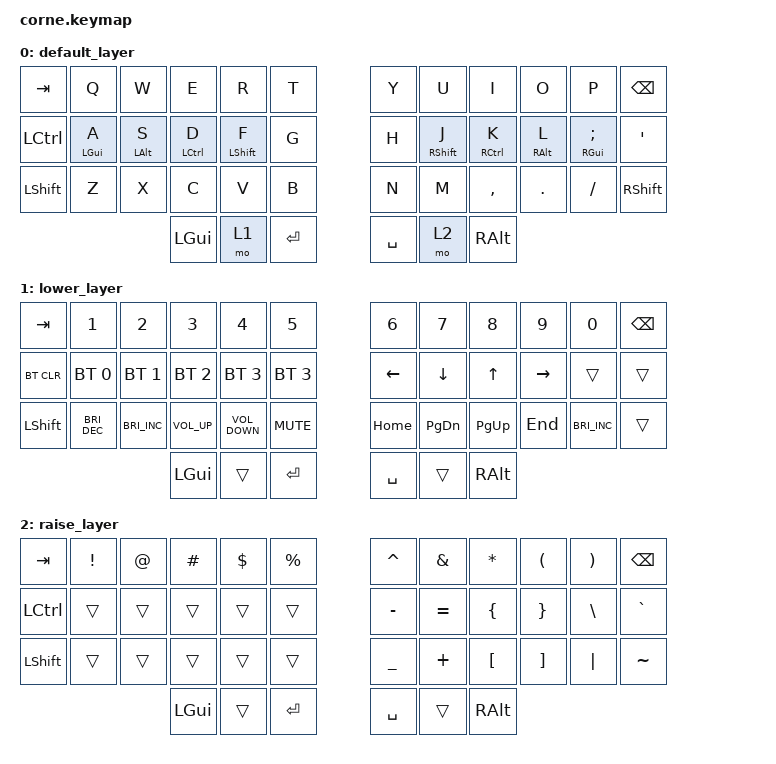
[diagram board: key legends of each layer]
/*
 * Copyright (c) 2020 The ZMK Contributors
 *
 * SPDX-License-Identifier: MIT
 */

#include <behaviors.dtsi>
#include <dt-bindings/zmk/bt.h>
#include <dt-bindings/zmk/keys.h>

/ {
    combos {
        compatible = "zmk,combos";

        combo_jk_esc {
            bindings = <&kp ESC>;
            key-positions = <19 20>;
        };

        combo_df_space {
            bindings = <&kp SPACE>;
            key-positions = <15 16>;
        };
    };

    behaviors {
        hmr: hmr {
            compatible = "zmk,behavior-hold-tap";
            label = "HMR";
            bindings = <&kp>, <&kp>;

            #binding-cells = <2>;
            flavor = "balanced";
            hold-trigger-key-positions = <0 1 2 3 4 5 12 13 14 15 16 17 24 25 26 27 28 29 36 37 38>;
            tapping-term-ms = <280>;
            require-prior-idle-ms = <150>;
            quick-tap-ms = <175>;
            hold-trigger-on-release;
        };

        hml: hml {
            compatible = "zmk,behavior-hold-tap";
            label = "HML";
            bindings = <&kp>, <&kp>;

            #binding-cells = <2>;
            flavor = "balanced";
            tapping-term-ms = <280>;
            require-prior-idle-ms = <150>;
            quick-tap-ms = <175>;
            hold-trigger-on-release;
            hold-trigger-key-positions = <6 7 8 9 10 11 18 19 20 21 22 23 30 31 32 33 34 35 39 40 41>;
        };
    };

    keymap {
        compatible = "zmk,keymap";

        default_layer {
            // -----------------------------------------------------------------------------------------
            // |  TAB |  Q  |  W  |  E  |  R  |  T  |   |  Y  |  U   |  I  |  O  |  P  | BKSP |
            // | CTRL |  A  |  S  |  D  |  F  |  G  |   |  H  |  J   |  K  |  L  |  ;  |  '   |
            // | SHFT |  Z  |  X  |  C  |  V  |  B  |   |  N  |  M   |  ,  |  .  |  /  | ESC  |
            //                    | GUI | LWR | SPC |   | ENT | RSE  | ALT |

            bindings = <
&kp TAB    &kp Q            &kp W            &kp E                &kp R              &kp T        &kp Y      &kp U               &kp I                 &kp O             &kp P                &kp BSPC
&kp LCTRL  &hml LEFT_GUI A  &hml LEFT_ALT S  &hml LEFT_CONTROL D  &hml LEFT_SHIFT F  &kp G        &kp H      &hmr RIGHT_SHIFT J  &hmr RIGHT_CONTROL K  &hmr RIGHT_ALT L  &hmr RIGHT_GUI SEMI  &kp SQT
&kp LSHFT  &kp Z            &kp X            &kp C                &kp V              &kp B        &kp N      &kp M               &kp COMMA             &kp DOT           &kp FSLH             &kp RIGHT_SHIFT
                                             &kp LGUI             &mo 1              &kp ENTER    &kp SPACE  &mo 2               &kp RALT
            >;
        };

        lower_layer {
            // -----------------------------------------------------------------------------------------
            // |  TAB |  1  |  2  |  3  |  4  |  5  |   |  6  |  7  |  8  |  9  |  0  | BKSP |
            // | BTCLR| BT1 | BT2 | BT3 | BT4 | BT5 |   | LFT | DWN |  UP | RGT |     |      |
            // | SHFT |     |     |     |     |     |   |     |     |     |     |     |      |
            //                    | GUI |     | SPC |   | ENT |     | ALT |

            bindings = <
&kp TAB     &kp N1                &kp N2                &kp N3           &kp N4             &kp N5          &kp N6     &kp N7         &kp N8       &kp N9     &kp N0                &kp BSPC
&bt BT_CLR  &bt BT_SEL 0          &bt BT_SEL 1          &bt BT_SEL 2     &bt BT_SEL 3       &bt BT_SEL 3    &kp LEFT   &kp DOWN       &kp UP       &kp RIGHT  &trans                &trans
&kp LSHFT   &kp C_BRIGHTNESS_DEC  &kp C_BRIGHTNESS_INC  &kp C_VOLUME_UP  &kp C_VOLUME_DOWN  &kp K_MUTE      &kp HOME   &kp PAGE_DOWN  &kp PAGE_UP  &kp END    &kp C_BRIGHTNESS_INC  &trans
                                                        &kp LGUI         &trans             &kp ENTER       &kp SPACE  &trans         &kp RALT
            >;
        };

        raise_layer {
            // -----------------------------------------------------------------------------------------
            // |  TAB |  !  |  @  |  #  |  $  |  %  |   |  ^  |  &  |  *  |  (  |  )  | BKSP |
            // | CTRL |     |     |     |     |     |   |  -  |  =  |  [  |  ]  |  \  |  `   |
            // | SHFT |     |     |     |     |     |   |  _  |  +  |  {  |  }  | "|" |  ~   |
            //                    | GUI |     | SPC |   | ENT |     | ALT |

            bindings = <
&kp TAB    &kp EXCL  &kp AT  &kp HASH  &kp DLLR  &kp PRCNT    &kp CARET  &kp AMPS   &kp ASTRK         &kp LPAR           &kp RPAR  &kp BSPC
&kp LCTRL  &trans    &trans  &trans    &trans    &trans       &kp MINUS  &kp EQUAL  &kp LEFT_BRACE    &kp RIGHT_BRACE    &kp BSLH  &kp GRAVE
&kp LSHFT  &trans    &trans  &trans    &trans    &trans       &kp UNDER  &kp PLUS   &kp LEFT_BRACKET  &kp RIGHT_BRACKET  &kp PIPE  &kp TILDE
                             &kp LGUI  &trans    &kp ENTER    &kp SPACE  &trans     &kp RALT
            >;
        };
    };
};
